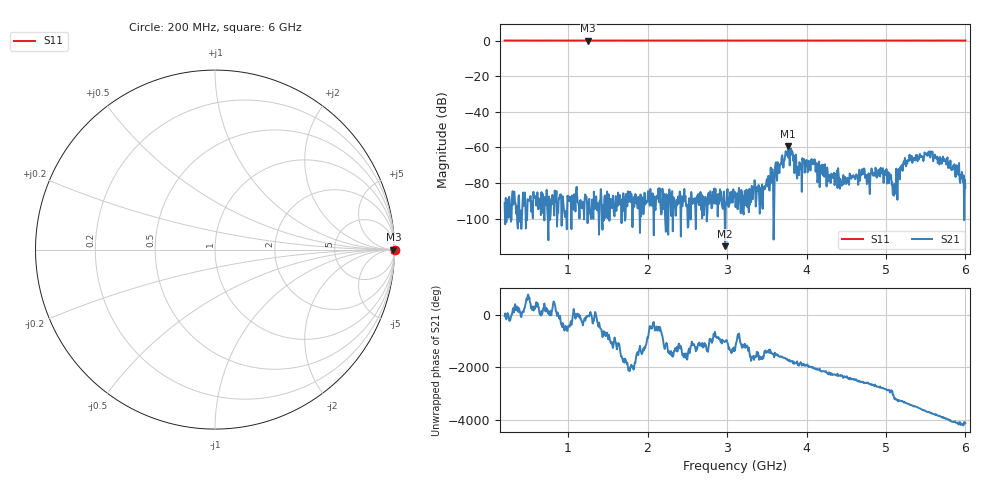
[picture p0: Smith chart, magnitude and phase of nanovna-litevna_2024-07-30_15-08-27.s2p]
! NanoVNA-App by OneOfEleven et al v1.1.209 (+OD15)
! Date: 2024-07-30 15:08:44
! Start: 200MHz Stop: 6GHz Points: 801
! S-Parameter data: F S11 S21 S12 S22
# Hz S RI R 50
!  Frequency  S11_Real  S11_Imag  S21_Real  S21_Imag  S12_Real  S12_Imag  S22_Real  S22_Imag
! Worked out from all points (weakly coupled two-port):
!   801 points, 200 MHz to 6 GHz, reference 50 ohm
!   highest |S21| = -59.30 dB at 3.767 GHz (marker M1); lowest = -115.4 dB at 2.977 GHz (marker M2)
!   lowest |S11| = -0.1 dB at 1.251 GHz (marker M3), VSWR 346.72, Z = 1.73e+04 - j668 ohm
!   |S11| at or under -10 dB: nowhere
!   S12 and S22 are empty: the file has one direction only
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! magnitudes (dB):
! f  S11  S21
! 200 MHz  0.0  -91.4
! 1.171 GHz  0.0  -94.2
! 1.251 GHz  -0.1  -91.3
! 2.136 GHz  0.0  -83.0
! 2.977 GHz  0.0  -115.4
! 3.1 GHz  0.0  -84.9
! 3.513 GHz  0.0  -81.8
! 3.767 GHz  0.0  -59.3
! 3.811 GHz  0.0  -63.9
! 3.876 GHz  0.0  -75.4
! 4.072 GHz  0.0  -68.5
! 4.449 GHz  0.0  -81.3
! 4.71 GHz  0.0  -75.1
! 4.768 GHz  0.0  -75.3
! 4.934 GHz  0.0  -71.4
! 5.036 GHz  0.0  -80.1
! 5.115 GHz  0.0  -86.0
! 5.21 GHz  0.0  -73.1
! 5.297 GHz  0.0  -64.0
! 5.558 GHz  0.0  -65.6
! 5.746 GHz  0.0  -67.0
! 6 GHz  0.0  -82.4
